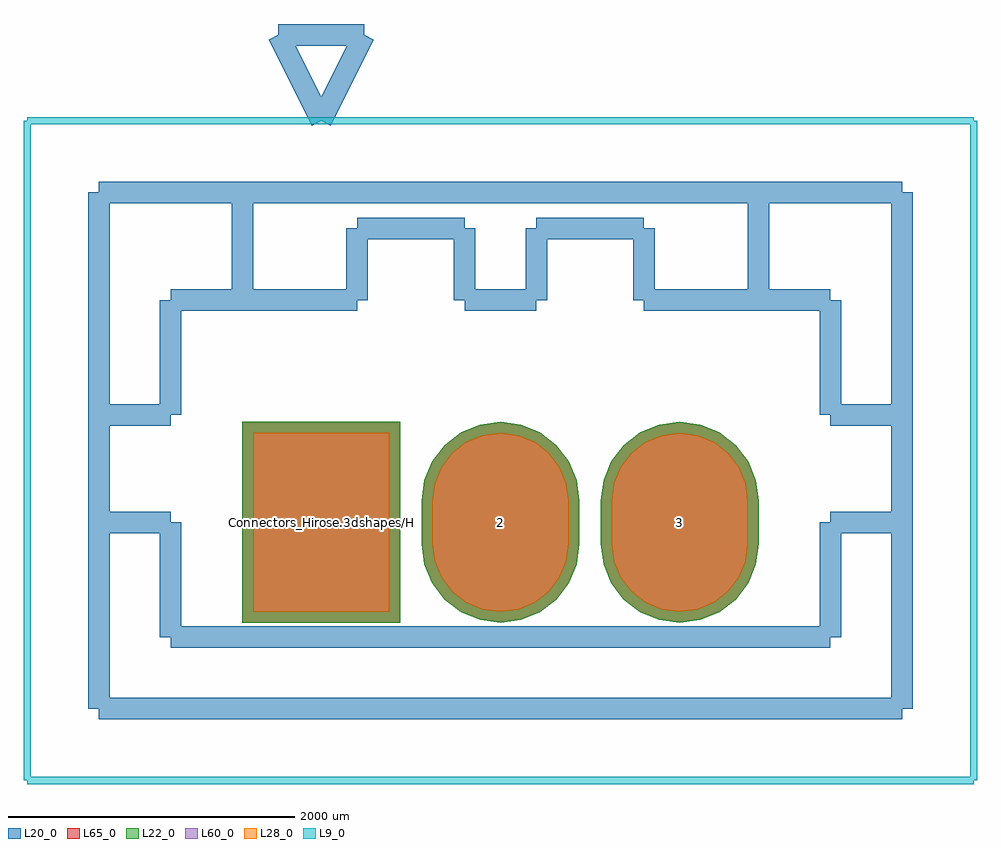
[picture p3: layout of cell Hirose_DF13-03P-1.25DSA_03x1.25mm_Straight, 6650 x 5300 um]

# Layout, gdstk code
import gdstk
lib = gdstk.Library(unit=1e-6, precision=1e-09)
def R(c, l, rs):  # rectangles x0, y0, x1, y1
    for r in rs: c.add(gdstk.rectangle(r[:2], r[2:], *l))
def P(c, l, *ps):  # polygons
    for p in ps: c.add(gdstk.Polygon(p, *l))
L9_0 = (9, 0)
L20_0 = (20, 0)
L22_0 = (22, 0)
L28_0 = (28, 0)
L60_0 = (60, 0)
L65_0 = (65, 0)

hirose_df13_03p_1_25dsa_ = lib.new_cell('Hirose_DF13-03P-1.25DSA_03x1.25mm_Straight')
R(hirose_df13_03p_1_25dsa_, L22_0, [(-550,-700,550,700)])
P(hirose_df13_03p_1_25dsa_, L22_0, [(2500,-700),(2642.35,-681.259),(2775,-626.314),(2888.909,-538.909),(2976.314,-425),(3031.259,-292.35),(3050,-150),(3050,150),(3031.259,292.35),(2976.314,425),(2888.909,538.909),(2775,626.314),(2642.35,681.259),(2500,700),(2357.65,681.259),(2225,626.314),(2111.091,538.909),(2023.686,425),(1968.741,292.35),(1950,150),(1950,-150),(1968.741,-292.35),(2023.686,-425),(2111.091,-538.909),(2225,-626.314),(2357.65,-681.259)],
  [(1250,-700),(1392.35,-681.259),(1525,-626.314),(1638.909,-538.909),(1726.314,-425),(1781.259,-292.35),(1800,-150),(1800,150),(1781.259,292.35),(1726.314,425),(1638.909,538.909),(1525,626.314),(1392.35,681.259),(1250,700),(1107.65,681.259),(975,626.314),(861.091,538.909),(773.686,425),(718.741,292.35),(700,150),(700,-150),(718.741,-292.35),(773.686,-425),(861.091,-538.909),(975,-626.314),(1107.65,-681.259)])
R(hirose_df13_03p_1_25dsa_, L28_0, [(-475,-625,475,625)])
P(hirose_df13_03p_1_25dsa_, L28_0, [(2500,-625),(2622.939,-608.815),(2737.5,-561.362),(2835.876,-485.876),(2911.362,-387.5),(2958.815,-272.939),(2975,-150),(2975,150),(2958.815,272.939),(2911.362,387.5),(2835.876,485.876),(2737.5,561.362),(2622.939,608.815),(2500,625),(2377.061,608.815),(2262.5,561.362),(2164.124,485.876),(2088.638,387.5),(2041.185,272.939),(2025,150),(2025,-150),(2041.185,-272.939),(2088.638,-387.5),(2164.124,-485.876),(2262.5,-561.362),(2377.061,-608.815)],
  [(1250,-625),(1372.939,-608.815),(1487.5,-561.362),(1585.876,-485.876),(1661.362,-387.5),(1708.815,-272.939),(1725,-150),(1725,150),(1708.815,272.939),(1661.362,387.5),(1585.876,485.876),(1487.5,561.362),(1372.939,608.815),(1250,625),(1127.061,608.815),(1012.5,561.362),(914.124,485.876),(838.638,387.5),(791.185,272.939),(775,150),(775,-150),(791.185,-272.939),(838.638,-387.5),(914.124,-485.876),(1012.5,-561.362),(1127.061,-608.815)])
R(hirose_df13_03p_1_25dsa_, L60_0, [(-475,-625,475,625)])
P(hirose_df13_03p_1_25dsa_, L60_0, [(2500,-625),(2622.939,-608.815),(2737.5,-561.362),(2835.876,-485.876),(2911.362,-387.5),(2958.815,-272.939),(2975,-150),(2975,150),(2958.815,272.939),(2911.362,387.5),(2835.876,485.876),(2737.5,561.362),(2622.939,608.815),(2500,625),(2377.061,608.815),(2262.5,561.362),(2164.124,485.876),(2088.638,387.5),(2041.185,272.939),(2025,150),(2025,-150),(2041.185,-272.939),(2088.638,-387.5),(2164.124,-485.876),(2262.5,-561.362),(2377.061,-608.815)],
  [(1250,-625),(1372.939,-608.815),(1487.5,-561.362),(1585.876,-485.876),(1661.362,-387.5),(1708.815,-272.939),(1725,-150),(1725,150),(1708.815,272.939),(1661.362,387.5),(1585.876,485.876),(1487.5,561.362),(1372.939,608.815),(1250,625),(1127.061,608.815),(1012.5,561.362),(914.124,485.876),(838.638,387.5),(791.185,272.939),(775,150),(775,-150),(791.185,-272.939),(838.638,-387.5),(914.124,-485.876),(1012.5,-561.362),(1127.061,-608.815)])
R(hirose_df13_03p_1_25dsa_, L65_0, [(-550,-700,550,700)])
P(hirose_df13_03p_1_25dsa_, L65_0, [(2500,-700),(2642.35,-681.259),(2775,-626.314),(2888.909,-538.909),(2976.314,-425),(3031.259,-292.35),(3050,-150),(3050,150),(3031.259,292.35),(2976.314,425),(2888.909,538.909),(2775,626.314),(2642.35,681.259),(2500,700),(2357.65,681.259),(2225,626.314),(2111.091,538.909),(2023.686,425),(1968.741,292.35),(1950,150),(1950,-150),(1968.741,-292.35),(2023.686,-425),(2111.091,-538.909),(2225,-626.314),(2357.65,-681.259)],
  [(1250,-700),(1392.35,-681.259),(1525,-626.314),(1638.909,-538.909),(1726.314,-425),(1781.259,-292.35),(1800,-150),(1800,150),(1781.259,292.35),(1726.314,425),(1638.909,538.909),(1525,626.314),(1392.35,681.259),(1250,700),(1107.65,681.259),(975,626.314),(861.091,538.909),(773.686,425),(718.741,292.35),(700,150),(700,-150),(718.741,-292.35),(773.686,-425),(861.091,-538.909),(975,-626.314),(1107.65,-681.259)])
hirose_df13_03p_1_25dsa_.add(gdstk.FlexPath([(4550,2800),(-2050,2800)], 50, ends="flush", simple_path=True, layer=9, datatype=0))  # L9_0
hirose_df13_03p_1_25dsa_.add(gdstk.FlexPath([(4550,-1800),(4550,2800)], 50, ends="flush", simple_path=True, layer=9, datatype=0))  # L9_0
hirose_df13_03p_1_25dsa_.add(gdstk.FlexPath([(-2050,-1800),(4550,-1800)], 50, ends="flush", simple_path=True, layer=9, datatype=0))  # L9_0
hirose_df13_03p_1_25dsa_.add(gdstk.FlexPath([(-2050,2800),(-2050,-1800)], 50, ends="flush", simple_path=True, layer=9, datatype=0))  # L9_0
hirose_df13_03p_1_25dsa_.add(gdstk.FlexPath([(2250,1550),(3050,1550)], 149.998, ends="flush", simple_path=True, layer=20, datatype=0))  # L20_0
hirose_df13_03p_1_25dsa_.add(gdstk.FlexPath([(2250,2050),(2250,1550)], 149.998, ends="flush", simple_path=True, layer=20, datatype=0))  # L20_0
hirose_df13_03p_1_25dsa_.add(gdstk.FlexPath([(1500,2050),(2250,2050)], 149.998, ends="flush", simple_path=True, layer=20, datatype=0))  # L20_0
hirose_df13_03p_1_25dsa_.add(gdstk.FlexPath([(1500,1550),(1500,2050)], 149.998, ends="flush", simple_path=True, layer=20, datatype=0))  # L20_0
hirose_df13_03p_1_25dsa_.add(gdstk.FlexPath([(1000,1550),(1500,1550)], 149.998, ends="flush", simple_path=True, layer=20, datatype=0))  # L20_0
hirose_df13_03p_1_25dsa_.add(gdstk.FlexPath([(1000,2050),(1000,1550)], 149.998, ends="flush", simple_path=True, layer=20, datatype=0))  # L20_0
hirose_df13_03p_1_25dsa_.add(gdstk.FlexPath([(250,2050),(1000,2050)], 149.998, ends="flush", simple_path=True, layer=20, datatype=0))  # L20_0
hirose_df13_03p_1_25dsa_.add(gdstk.FlexPath([(250,1550),(250,2050)], 149.998, ends="flush", simple_path=True, layer=20, datatype=0))  # L20_0
hirose_df13_03p_1_25dsa_.add(gdstk.FlexPath([(-550,1550),(250,1550)], 149.998, ends="flush", simple_path=True, layer=20, datatype=0))  # L20_0
hirose_df13_03p_1_25dsa_.add(gdstk.FlexPath([(3050,1550),(3050,2300)], 149.998, ends="flush", simple_path=True, layer=20, datatype=0))  # L20_0
hirose_df13_03p_1_25dsa_.add(gdstk.FlexPath([(3550,1550),(3050,1550)], 149.998, ends="flush", simple_path=True, layer=20, datatype=0))  # L20_0
hirose_df13_03p_1_25dsa_.add(gdstk.FlexPath([(3550,750),(3550,1550)], 149.998, ends="flush", simple_path=True, layer=20, datatype=0))  # L20_0
hirose_df13_03p_1_25dsa_.add(gdstk.FlexPath([(4050,750),(3550,750)], 149.998, ends="flush", simple_path=True, layer=20, datatype=0))  # L20_0
hirose_df13_03p_1_25dsa_.add(gdstk.FlexPath([(-550,1550),(-550,2300)], 149.998, ends="flush", simple_path=True, layer=20, datatype=0))  # L20_0
hirose_df13_03p_1_25dsa_.add(gdstk.FlexPath([(-1050,1550),(-550,1550)], 149.998, ends="flush", simple_path=True, layer=20, datatype=0))  # L20_0
hirose_df13_03p_1_25dsa_.add(gdstk.FlexPath([(-1050,750),(-1050,1550)], 149.998, ends="flush", simple_path=True, layer=20, datatype=0))  # L20_0
hirose_df13_03p_1_25dsa_.add(gdstk.FlexPath([(-1550,750),(-1050,750)], 149.998, ends="flush", simple_path=True, layer=20, datatype=0))  # L20_0
hirose_df13_03p_1_25dsa_.add(gdstk.FlexPath([(3550,0),(4050,0)], 149.998, ends="flush", simple_path=True, layer=20, datatype=0))  # L20_0
hirose_df13_03p_1_25dsa_.add(gdstk.FlexPath([(3550,-800),(3550,0)], 149.998, ends="flush", simple_path=True, layer=20, datatype=0))  # L20_0
hirose_df13_03p_1_25dsa_.add(gdstk.FlexPath([(-1050,-800),(3550,-800)], 149.998, ends="flush", simple_path=True, layer=20, datatype=0))  # L20_0
hirose_df13_03p_1_25dsa_.add(gdstk.FlexPath([(-1050,0),(-1050,-800)], 149.998, ends="flush", simple_path=True, layer=20, datatype=0))  # L20_0
hirose_df13_03p_1_25dsa_.add(gdstk.FlexPath([(-1550,0),(-1050,0)], 149.998, ends="flush", simple_path=True, layer=20, datatype=0))  # L20_0
hirose_df13_03p_1_25dsa_.add(gdstk.FlexPath([(300,3400),(0,2800)], 149.998, ends="flush", simple_path=True, layer=20, datatype=0))  # L20_0
hirose_df13_03p_1_25dsa_.add(gdstk.FlexPath([(-300,3400),(300,3400)], 149.998, ends="flush", simple_path=True, layer=20, datatype=0))  # L20_0
hirose_df13_03p_1_25dsa_.add(gdstk.FlexPath([(0,2800),(-300,3400)], 149.998, ends="flush", simple_path=True, layer=20, datatype=0))  # L20_0
hirose_df13_03p_1_25dsa_.add(gdstk.FlexPath([(4050,2300),(-1550,2300)], 149.998, ends="flush", simple_path=True, layer=20, datatype=0))  # L20_0
hirose_df13_03p_1_25dsa_.add(gdstk.FlexPath([(4050,-1300),(4050,2300)], 149.998, ends="flush", simple_path=True, layer=20, datatype=0))  # L20_0
hirose_df13_03p_1_25dsa_.add(gdstk.FlexPath([(-1550,-1300),(4050,-1300)], 149.998, ends="flush", simple_path=True, layer=20, datatype=0))  # L20_0
hirose_df13_03p_1_25dsa_.add(gdstk.FlexPath([(-1550,2300),(-1550,-1300)], 149.998, ends="flush", simple_path=True, layer=20, datatype=0))  # L20_0
hirose_df13_03p_1_25dsa_.add(gdstk.Label('Connectors_Hirose.3dshapes/Hirose_DF13-03P-1.25DSA_03x1.25mm_Straight.wrl', (0,0), layer=12, texttype=0))
hirose_df13_03p_1_25dsa_.add(gdstk.Label('3', (2500,0), layer=28, texttype=0))
hirose_df13_03p_1_25dsa_.add(gdstk.Label('2', (1250,0), layer=28, texttype=0))
hirose_df13_03p_1_25dsa_.add(gdstk.Label('1', (0,0), layer=28, texttype=0))
hirose_df13_03p_1_25dsa_.add(gdstk.Label('type', (1250,-2500), layer=9, texttype=0))
hirose_df13_03p_1_25dsa_.add(gdstk.Label('devicename', (1250,4000), layer=9, texttype=0))

lib.write_gds('Hirose_DF13-03P-1.25DSA_03x1.25mm_Straight.gds')
